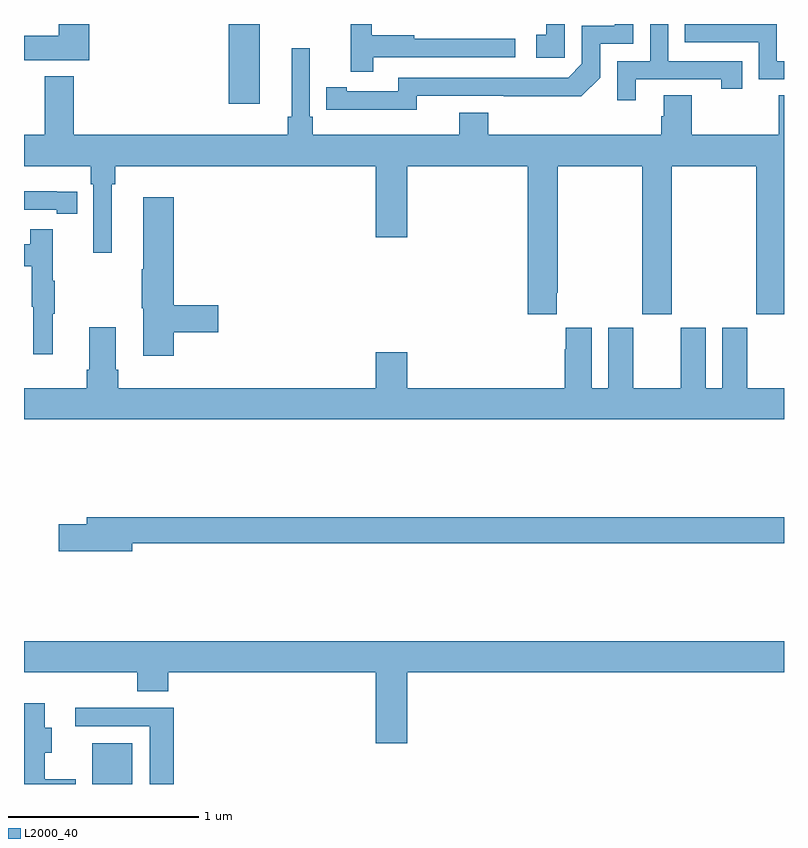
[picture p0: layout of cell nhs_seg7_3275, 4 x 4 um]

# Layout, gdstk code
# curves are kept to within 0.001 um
import gdstk
lib = gdstk.Library(unit=1e-6, precision=1e-09)
def R(c, l, rs):  # rectangles x0, y0, x1, y1
    for r in rs: c.add(gdstk.rectangle(r[:2], r[2:], *l))
def P(c, l, *ps):  # polygons
    for p in ps: c.add(gdstk.Polygon(p, *l))
L2000_40 = (2000, 40)

nhs_seg7_3275 = lib.new_cell('nhs_seg7_3275')
R(nhs_seg7_3275, L2000_40, [(319.358,1028,319.57,1028.215), (320.078,1031.58,320.242,1032)])
P(nhs_seg7_3275, L2000_40, [(320.837,1031.826),(321.586,1031.826),(321.586,1031.922),(321.053,1031.922),(321.053,1031.942),(320.83,1031.942),(320.83,1032),(320.72,1032),(320.72,1031.748),(320.837,1031.748)],
  [(322.219,1031.709),(322.67,1031.709),(322.67,1031.658),(322.781,1031.658),(322.781,1031.805),(322.392,1031.805),(322.392,1032),(322.296,1032),(322.296,1031.805),(322.122,1031.805),(322.122,1031.598),(322.219,1031.598)],
  [(319.343,1032),(319.184,1032),(319.184,1031.938),(319,1031.938),(319,1031.81),(319.343,1031.81)],
  [(321.846,1032),(321.749,1032),(321.749,1031.943),(321.696,1031.943),(321.696,1031.823),(321.846,1031.823)],
  [(323,1031.805),(322.962,1031.805),(322.962,1032),(322.477,1032),(322.477,1031.904),(322.866,1031.904),(322.866,1031.709),(323,1031.709)],
  [(321.066,1031.622),(321.934,1031.621),(322.032,1031.718),(322.032,1031.895),(322.206,1031.895),(322.206,1032),(322.109,1032),(322.109,1031.991),(321.936,1031.991),(321.936,1031.79),(321.864,1031.718),(320.97,1031.718),(320.97,1031.646),(320.698,1031.646),(320.698,1031.666),(320.59,1031.666),(320.59,1031.55),(321.066,1031.549)],
  [(321.29,1031.533),(321.29,1031.416),(320.519,1031.416),(320.519,1031.512),(320.505,1031.512),(320.505,1031.872),(320.408,1031.872),(320.408,1031.512),(320.389,1031.512),(320.389,1031.416),(319.262,1031.416),(319.262,1031.725),(319.109,1031.725),(319.109,1031.416),(319,1031.416),(319,1031.252),(319.352,1031.252),(319.352,1031.156),(319.365,1031.156),(319.365,1030.797),(319.462,1030.797),(319.462,1031.156),(319.481,1031.156),(319.481,1031.252),(320.852,1031.252),(320.852,1030.878),(321.016,1030.878),(321.016,1031.252),(321.65,1031.252),(321.65,1030.473),(321.805,1030.473),(321.805,1030.585),(321.81,1030.585),(321.81,1031.252),(322.255,1031.252),(322.255,1030.473),(322.41,1030.473),(322.41,1031.252),(322.855,1031.252),(322.855,1030.473),(323,1030.473),(323,1031.624),(322.972,1031.624),(322.972,1031.416),(322.515,1031.416),(322.515,1031.624),(322.367,1031.624),(322.367,1031.514),(322.355,1031.514),(322.355,1031.416),(321.443,1031.416),(321.443,1031.533)],
  [(319.28,1031.118),(319.172,1031.118),(319.172,1031.119),(319,1031.119),(319,1031.022),(319.172,1031.022),(319.172,1031.002),(319.28,1031.002)],
  [(319.787,1030.378),(320.023,1030.378),(320.023,1030.52),(319.787,1030.52),(319.787,1031.089),(319.628,1031.089),(319.628,1030.709),(319.621,1030.709),(319.621,1030.503),(319.628,1030.503),(319.628,1030.254),(319.787,1030.254)],
  [(319.151,1030.475),(319.162,1030.475),(319.162,1030.649),(319.151,1030.649),(319.151,1030.921),(319.033,1030.921),(319.033,1030.842),(319,1030.842),(319,1030.726),(319.041,1030.726),(319.041,1030.512),(319.048,1030.512),(319.048,1030.263),(319.151,1030.263)],
  [(323,1030.084),(322.807,1030.084),(322.807,1030.402),(322.676,1030.402),(322.676,1030.084),(322.588,1030.084),(322.588,1030.402),(322.457,1030.402),(322.457,1030.084),(322.207,1030.084),(322.207,1030.402),(322.076,1030.402),(322.076,1030.084),(321.988,1030.084),(321.988,1030.402),(321.851,1030.402),(321.851,1030.289),(321.845,1030.289),(321.845,1030.084),(321.016,1030.084),(321.016,1030.273),(320.852,1030.273),(320.852,1030.084),(319.496,1030.084),(319.496,1030.18),(319.483,1030.18),(319.483,1030.405),(319.343,1030.405),(319.343,1030.18),(319.331,1030.18),(319.331,1030.084),(319,1030.084),(319,1029.92),(323,1029.92)],
  [(319.57,1029.268),(323,1029.268),(323,1029.404),(319.331,1029.404),(319.331,1029.368),(319.182,1029.368),(319.182,1029.226),(319.57,1029.226)],
  [(321.016,1028.588),(323,1028.588),(323,1028.752),(319,1028.752),(319,1028.588),(319.595,1028.588),(319.595,1028.489),(319.76,1028.489),(319.76,1028.588),(320.852,1028.588),(320.852,1028.214),(321.016,1028.214)],
  [(319.273,1028.026),(319.108,1028.026),(319.108,1028.165),(319.147,1028.165),(319.147,1028.295),(319.108,1028.295),(319.108,1028.425),(319,1028.425),(319,1028),(319.273,1028)],
  [(319.787,1028.402),(319.269,1028.402),(319.269,1028.304),(319.661,1028.304),(319.661,1028),(319.787,1028)])

lib.write_gds('nhs_seg7_3275.gds')
